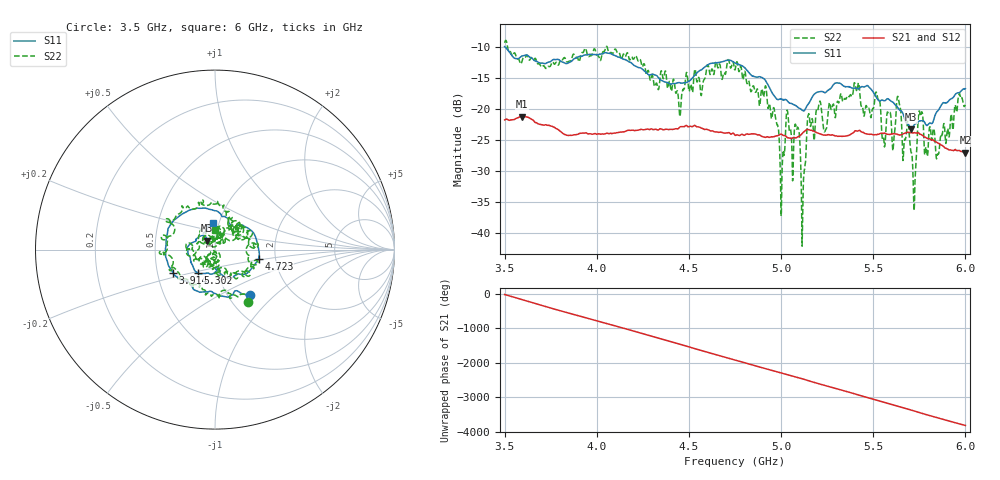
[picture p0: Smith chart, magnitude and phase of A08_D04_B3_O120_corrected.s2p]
! Created with skrf 1.9.0 (http://scikit-rf.org).
# Hz S RI R 50.0
!freq ReS11 ImS11 ReS21 ImS21 ReS12 ImS12 ReS22 ImS22
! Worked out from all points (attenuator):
!   1601 points, 3.5 GHz to 6 GHz, reference 50 ohm
!   highest |S21| = -21.18 dB at 3.592 GHz (marker M1); lowest = -27.0 dB at 6 GHz (marker M2)
!   lowest |S11| = -23.2 dB at 5.706 GHz (marker M3), VSWR 1.15, Z = 45.3 + j4.58 ohm
!   |S11| at or under -10 dB: 3.505 GHz to end of sweep
!   |S22| runs from -42.1 to -8.9 dB; largest |S21 - S12| = 0.0012
!   S11 on the Smith chart (normalised r, x): 3.5 GHz: 1.26, -0.71; 3.914 GHz: 0.60, -0.17; 4.723 GHz: 1.63, -0.17; 5.302 GHz: 0.80, -0.22; 6 GHz: 0.94, +0.28
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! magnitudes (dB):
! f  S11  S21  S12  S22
! 3.5 GHz  -9.9  -21.7  -21.7  -9.3
! 3.592 GHz  -11.4  -21.2  -21.2  -12.5
! 3.914 GHz  -11.5  -23.9  -23.8  -11.3
! 3.917 GHz  -11.5  -23.9  -23.8  -11.0
! 4.334 GHz  -14.9  -23.3  -23.2  -16.8
! 4.723 GHz  -12.1  -23.9  -23.8  -13.2
! 4.75 GHz  -12.5  -24.2  -24.1  -13.7
! 4.911 GHz  -15.2  -24.5  -24.4  -16.9
! 5.005 GHz  -18.4  -24.1  -24.0  -30.8
! 5.034 GHz  -18.7  -24.6  -24.5  -20.3
! 5.086 GHz  -19.5  -24.5  -24.5  -23.2
! 5.119 GHz  -20.2  -23.8  -23.7  -34.1
! 5.147 GHz  -19.2  -23.3  -23.2  -21.0
! 5.167 GHz  -18.1  -23.4  -23.4  -21.6
! 5.302 GHz  -15.7  -24.3  -24.3  -19.4
! 5.584 GHz  -18.4  -24.0  -24.0  -20.6
! 5.639 GHz  -20.0  -24.1  -24.1  -18.6
! 5.706 GHz  -23.2  -23.8  -23.7  -27.0
! 5.725 GHz  -22.4  -23.8  -23.7  -33.6
! 5.756 GHz  -21.9  -24.0  -24.0  -21.1
! 5.848 GHz  -20.3  -25.4  -25.3  -27.3
! 6 GHz  -16.7  -27.0  -26.9  -19.3
